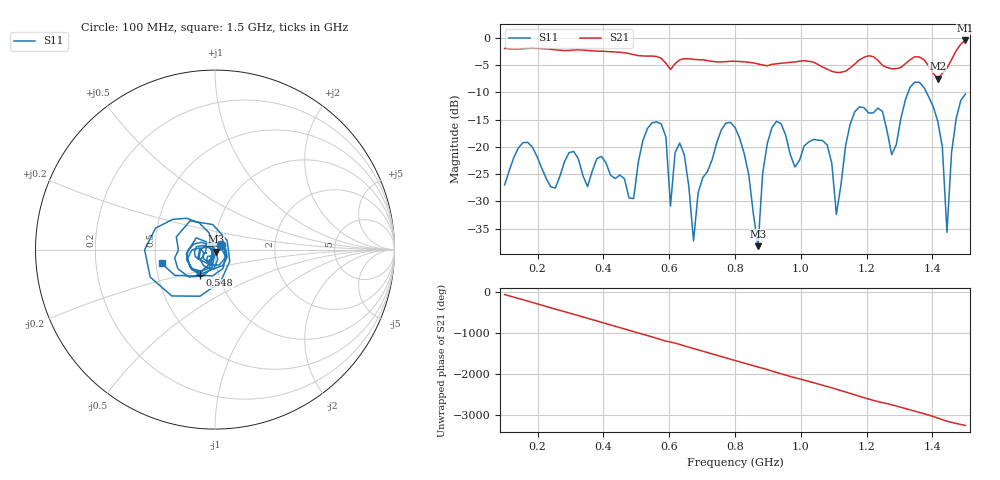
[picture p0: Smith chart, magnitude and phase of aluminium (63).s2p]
! NanoVNA-App
! Date: 2025-09-26 09:58:33
! Start: 100MHz Stop: 1,5GHz Points: 101
! S-Parameter data: F S11 S21 S12 S22
# Hz S RI R 50
!  Frequency  S11_Real  S11_Imag  S21_Real  S21_Imag  S12_Real  S12_Imag  S22_Real  S22_Imag
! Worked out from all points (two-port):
!   101 points, 100 MHz to 1.5 GHz, reference 50 ohm
!   highest |S21| = -0.46 dB at 1.5 GHz (marker M1); lowest = -7.5 dB at 1.416 GHz (marker M2)
!   |S21| within 3 dB of the highest: start of sweep to 564.5 MHz; 1.462 GHz to end of sweep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
!   lowest |S11| = -38.2 dB at 870 MHz (marker M3), VSWR 1.02, Z = 50.5 - j1.12 ohm
!   |S11| at or under -10 dB: start of sweep to 1.326 GHz; 1.382 GHz to end of sweep
!   S12 and S22 are empty: the file has one direction only
!   S11 on the Smith chart (normalised r, x): 100 MHz: 1.07, +0.06; 548 MHz: 0.81, -0.24; 1.5 GHz: 0.54, -0.09
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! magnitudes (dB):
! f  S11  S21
! 100 MHz  -27.0  -1.9
! 156 MHz  -19.2  -2.0
! 338 MHz  -25.3  -2.2
! 492 MHz  -29.5  -3.1
! 548 MHz  -15.6  -3.3
! 576 MHz  -15.8  -3.7
! 604 MHz  -30.8  -5.8
! 646 MHz  -21.5  -3.8
! 674 MHz  -37.3  -3.9
! 800 MHz  -16.4  -4.3
! 870 MHz  -38.2  -4.8
! 912 MHz  -16.5  -4.8
! 1.038 GHz  -18.6  -4.4
! 1.08 GHz  -19.6  -5.7
! 1.108 GHz  -32.4  -6.3
! 1.164 GHz  -13.5  -4.8
! 1.276 GHz  -21.4  -5.6
! 1.346 GHz  -8.1  -3.4
! 1.416 GHz  -15.3  -7.5
! 1.444 GHz  -35.7  -5.6
! 1.458 GHz  -21.0  -4.0
! 1.5 GHz  -10.3  -0.5
